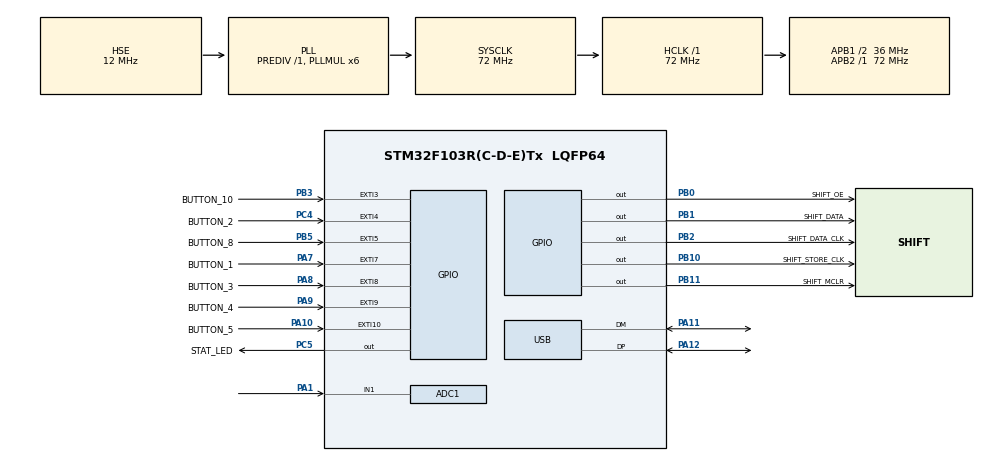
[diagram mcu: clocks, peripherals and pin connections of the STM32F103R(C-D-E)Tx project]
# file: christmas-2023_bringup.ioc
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ADC1.Channel-0\#ChannelRegularConversion=ADC_CHANNEL_1
ADC1.NbrOfConversionFlag=1
ADC1.Rank-0\#ChannelRegularConversion=1
ADC1.SamplingTime-0\#ChannelRegularConversion=ADC_SAMPLETIME_1CYCLE_5
ADC1.master=1
Mcu.Family=STM32F1
Mcu.Name=STM32F103R(C-D-E)Tx
Mcu.Package=LQFP64
NVIC.EXTI15_10_IRQn=true\:0\:0\:false\:false\:true\:true\:true\:true
NVIC.EXTI3_IRQn=true\:0\:0\:false\:false\:true\:true\:true\:true
NVIC.EXTI4_IRQn=true\:0\:0\:false\:false\:true\:true\:true\:true
NVIC.EXTI9_5_IRQn=true\:0\:0\:false\:false\:true\:true\:true\:true
NVIC.PriorityGroup=NVIC_PRIORITYGROUP_4
PA1.Signal=ADCx_IN1
PA10.GPIO_Label=BUTTON_5
PA10.GPIO_ModeDefaultEXTI=GPIO_MODE_IT_FALLING
PA10.GPIO_PuPd=GPIO_PULLUP
PA10.Signal=GPXTI10
PA11.Mode=Device
PA11.Signal=USB_DM
PA12.Mode=Device
PA12.Signal=USB_DP
PA13.Mode=Serial_Wire
PA13.Signal=SYS_JTMS-SWDIO
PA14.Mode=Serial_Wire
PA14.Signal=SYS_JTCK-SWCLK
PA7.GPIO_Label=BUTTON_1
PA7.GPIO_ModeDefaultEXTI=GPIO_MODE_IT_FALLING
PA7.GPIO_PuPd=GPIO_PULLUP
PA7.Signal=GPXTI7
PA8.GPIO_Label=BUTTON_3
PA8.GPIO_ModeDefaultEXTI=GPIO_MODE_IT_FALLING
PA8.GPIO_PuPd=GPIO_PULLUP
PA8.Signal=GPXTI8
PA9.GPIO_Label=BUTTON_4
PA9.GPIO_ModeDefaultEXTI=GPIO_MODE_IT_FALLING
PA9.GPIO_PuPd=GPIO_PULLUP
PA9.Signal=GPXTI9
PB0.GPIO_Label=SHIFT_OE
PB0.Signal=GPIO_Output
PB1.GPIO_Label=SHIFT_DATA
PB1.Signal=GPIO_Output
PB10.GPIO_Label=SHIFT_STORE_CLK
PB10.Signal=GPIO_Output
PB11.GPIO_Label=SHIFT_MCLR
PB11.Signal=GPIO_Output
PB2.GPIO_Label=SHIFT_DATA_CLK
PB2.Signal=GPIO_Output
PB3.GPIO_Label=BUTTON_10
PB3.GPIO_ModeDefaultEXTI=GPIO_MODE_IT_FALLING
PB3.GPIO_PuPd=GPIO_PULLUP
PB3.Signal=GPXTI3
PB5.GPIO_Label=BUTTON_8
PB5.GPIO_ModeDefaultEXTI=GPIO_MODE_IT_FALLING
PB5.GPIO_PuPd=GPIO_PULLUP
PB5.Signal=GPXTI5
PC4.GPIO_Label=BUTTON_2
PC4.GPIO_ModeDefaultEXTI=GPIO_MODE_IT_FALLING
PC4.GPIO_PuPd=GPIO_PULLUP
PC4.Signal=GPXTI4
PC5.GPIO_Label=STAT_LED
PC5.Signal=GPIO_Output
PD0-OSC_IN.Mode=HSE-External-Oscillator
PD0-OSC_IN.Signal=RCC_OSC_IN
PD1-OSC_OUT.Mode=HSE-External-Oscillator
PD1-OSC_OUT.Signal=RCC_OSC_OUT
ProjectManager.HeapSize=0x200
ProjectManager.StackSize=0x400
ProjectManager.TargetToolchain=STM32CubeIDE
RCC.ADCPresc=RCC_ADCPCLK2_DIV6
RCC.AHBFreq_Value=72000000
RCC.APB1CLKDivider=RCC_HCLK_DIV2
RCC.APB1Freq_Value=36000000
RCC.APB1TimFreq_Value=72000000
RCC.APB2Freq_Value=72000000
RCC.APB2TimFreq_Value=72000000
RCC.HCLKFreq_Value=72000000
RCC.HSE_VALUE=12000000
RCC.PLLMUL=RCC_PLL_MUL6
RCC.PLLSourceVirtual=RCC_PLLSOURCE_HSE
RCC.SYSCLKFreq_VALUE=72000000
RCC.SYSCLKSource=RCC_SYSCLKSOURCE_PLLCLK
RCC.USBFreq_Value=48000000
RCC.USBPrescaler=RCC_USBCLKSOURCE_PLL_DIV1_5
SH.ADCx_IN1.0=ADC1_IN1,IN1
board=custom

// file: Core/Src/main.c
/* USER CODE BEGIN Header */
/**
  ******************************************************************************
  * @file           : main.c
  * @brief          : Main program body

	Code Flag Structure:
	1 - Blink Debug LED
	2 - Test shift register functionality
	3 - Test ADC functionality
	4 - Light up debug LED on button input interrupts
  */
/* USER CODE END Header */
#include "main.h"

ADC_HandleTypeDef hadc1;

PCD_HandleTypeDef hpcd_USB_FS;

/* USER CODE BEGIN PV */

/*
 *******************************************************************************
 * Change flag to enter sequential stages of bringup *
 *******************************************************************************
 */

// Debug LED on PCB
const uint16_t debugLED = GPIO_PIN_5;		// Port C

/*
 * Shift register Pins
 */
uint16_t shiftData = GPIO_PIN_1;			// Port B
uint16_t shiftDataClock = GPIO_PIN_2; 		// Port B
uint16_t shiftStoreClock = GPIO_PIN_10;		// Port B
uint16_t shiftOutputEnable = GPIO_PIN_0;	// Port B
uint16_t shiftMCLR = GPIO_PIN_11;			// Port B

// ADC Pin
uint16_t ADC_IN = GPIO_PIN_1; 				// Port A

// Button Input Pins
uint16_t buttonIn_1 = GPIO_PIN_7;			// Port A
uint16_t buttonIn_2 = GPIO_PIN_4;			// Port C
uint16_t buttonIn_3 = GPIO_PIN_8;			// Port	A
uint16_t buttonIn_4 = GPIO_PIN_9;			// Port A
uint16_t buttonIn_5 = GPIO_PIN_10;			// Port A
uint16_t buttonIn_6 = GPIO_PIN_9;			// Port B
uint16_t buttonIn_7 = GPIO_PIN_8;			// Port B
uint16_t buttonIn_8 = GPIO_PIN_5;			// Port B
uint16_t buttonIn_9 = GPIO_PIN_4;			// Port B
uint16_t buttonIn_10 = GPIO_PIN_3;			// Port B

// For setting GPIO high or low in a more pretty fashion
GPIO_PinState GPIOPinSet[2] = {GPIO_PIN_RESET, GPIO_PIN_SET};

/* USER CODE END PV */

void SystemClock_Config(void);
static void MX_GPIO_Init(void);
static void MX_ADC1_Init(void);
static void MX_USB_PCD_Init(void);

int main(void)
{

  /* MCU Configuration--------------------------------------------------------*/

  /* Reset of all peripherals, Initializes the Flash interface and the Systick. */
  HAL_Init();

  /* Configure the system clock */
  SystemClock_Config();

  /* Initialize all configured peripherals */
  MX_GPIO_Init();
  MX_ADC1_Init();
  MX_USB_PCD_Init();
  /* USER CODE BEGIN 2 */

  const uint8_t bringupStage = 1;

  // Define return variable for ADC
  uint16_t ADC_Return = 0;
  // Calibrate ADC
  HAL_ADCEx_Calibration_Start(&hadc1);

  /* USER CODE END 2 */

  /* Infinite loop */
  /* USER CODE BEGIN WHILE */
  while (1)
  {
	  switch(bringupStage) {
		  case 1:		// Case 1 = simple debug LED blink

			  // Debug LED connected to pin C5
			  HAL_GPIO_TogglePin(GPIOC, debugLED);
			  HAL_Delay(500);

		    break;

		  case 2:		// Case 2 =  Test shift register functionality

			    // Clear any existing shift register data
				HAL_GPIO_WritePin(GPIOB, shiftMCLR, GPIOPinSet[0]);
				HAL_GPIO_WritePin(GPIOB, shiftMCLR, GPIOPinSet[1]);

				// Store cleared data and Enable output
				HAL_GPIO_WritePin(GPIOB, shiftStoreClock, GPIOPinSet[1]);
				HAL_GPIO_WritePin(GPIOB, shiftStoreClock, GPIOPinSet[0]);
				HAL_GPIO_WritePin(GPIOB, shiftOutputEnable, GPIOPinSet[0]);

				HAL_Delay(10);

				// Write data pin with 1 bit of data
				HAL_GPIO_WritePin(GPIOB, shiftData, GPIOPinSet[1]);

				// Shift high bit into pos 1
				HAL_GPIO_WritePin(GPIOB, shiftDataClock, GPIOPinSet[1]);
				HAL_GPIO_WritePin(GPIOB, shiftDataClock, GPIOPinSet[0]);

				// Display Output
				HAL_GPIO_WritePin(GPIOB, shiftStoreClock, GPIOPinSet[1]);
				HAL_GPIO_WritePin(GPIOB, shiftStoreClock, GPIOPinSet[0]);

				// Change Data pin back to low bit
				HAL_GPIO_WritePin(GPIOB, shiftData, GPIOPinSet[0]);

				for(int i = 0; i < 8; i++) {

					HAL_Delay(1000);
					// Shift low bit
					HAL_GPIO_WritePin(GPIOB, shiftDataClock, GPIOPinSet[1]);
					HAL_GPIO_WritePin(GPIOB, shiftDataClock, GPIOPinSet[0]);

					// Display Output
					HAL_GPIO_WritePin(GPIOB, shiftStoreClock, GPIOPinSet[1]);
					HAL_GPIO_WritePin(GPIOB, shiftStoreClock, GPIOPinSet[0]);
				}

		    break;

		  case 3:		// Case 3 - Test ADC functionality

			  // Start ADC Conversion
			  HAL_ADC_Start(&hadc1);

			 // Poll ADC1 Peripheral & TimeOut = 1mSec
			  HAL_ADC_PollForConversion(&hadc1, 1);

			  // Read The ADC Conversion Result & Map It To PWM DutyCycle
			  ADC_Return = HAL_ADC_GetValue(&hadc1);

			  // Resolution = 12 bit, 2^12 = 4096

			  // If ADC > 0.5 * VDD, turn on LED.
			  if(ADC_Return >= 4096/2 && ADC_Return <= 4096) {
				  HAL_GPIO_WritePin(GPIOC, debugLED, GPIOPinSet[1]);
			  }
			  // If ADC < 0.5 * VDD, turn off LED.
			  else if(ADC_Return <= 4096/2 && ADC_Return >= 0) {
				  HAL_GPIO_WritePin(GPIOC, debugLED, GPIOPinSet[0]);
			  }
			  // Else, something is wrong with my measurement - I should only get between 0 and 4096 return
			  else {
				  for(int i = 0; i < 20; i++) {
					  HAL_GPIO_TogglePin(GPIOC, debugLED);
					  HAL_Delay(100);
				  }
			  }

			  HAL_Delay(10);

		    break;

		  case 4: 		// Case 4 - Light up debug LED on button input interrupts. Do nothing.

		    break;

		  default:

		   break;
	  }

    /* USER CODE END WHILE */

  }
}

void SystemClock_Config(void)
{
  RCC_OscInitTypeDef RCC_OscInitStruct = {0};
  RCC_ClkInitTypeDef RCC_ClkInitStruct = {0};
  RCC_PeriphCLKInitTypeDef PeriphClkInit = {0};

  /** Initializes the RCC Oscillators according to the specified parameters
  * in the RCC_OscInitTypeDef structure.
  */
  RCC_OscInitStruct.OscillatorType = RCC_OSCILLATORTYPE_HSE;
  RCC_OscInitStruct.HSEState = RCC_HSE_ON;
  RCC_OscInitStruct.HSEPredivValue = RCC_HSE_PREDIV_DIV1;
  RCC_OscInitStruct.HSIState = RCC_HSI_ON;
  RCC_OscInitStruct.PLL.PLLState = RCC_PLL_ON;
  RCC_OscInitStruct.PLL.PLLSource = RCC_PLLSOURCE_HSE;
  RCC_OscInitStruct.PLL.PLLMUL = RCC_PLL_MUL6;
  if (HAL_RCC_OscConfig(&RCC_OscInitStruct) != HAL_OK)
  {
    Error_Handler();
  }

  /** Initializes the CPU, AHB and APB buses clocks
  */
  RCC_ClkInitStruct.ClockType = RCC_CLOCKTYPE_HCLK|RCC_CLOCKTYPE_SYSCLK
                              |RCC_CLOCKTYPE_PCLK1|RCC_CLOCKTYPE_PCLK2;
  RCC_ClkInitStruct.SYSCLKSource = RCC_SYSCLKSOURCE_PLLCLK;
  RCC_ClkInitStruct.AHBCLKDivider = RCC_SYSCLK_DIV1;
  RCC_ClkInitStruct.APB1CLKDivider = RCC_HCLK_DIV2;
  RCC_ClkInitStruct.APB2CLKDivider = RCC_HCLK_DIV1;

  if (HAL_RCC_ClockConfig(&RCC_ClkInitStruct, FLASH_LATENCY_2) != HAL_OK)
  {
    Error_Handler();
  }
  PeriphClkInit.PeriphClockSelection = RCC_PERIPHCLK_ADC|RCC_PERIPHCLK_USB;
  PeriphClkInit.AdcClockSelection = RCC_ADCPCLK2_DIV6;
  PeriphClkInit.UsbClockSelection = RCC_USBCLKSOURCE_PLL_DIV1_5;
  if (HAL_RCCEx_PeriphCLKConfig(&PeriphClkInit) != HAL_OK)
  {
    Error_Handler();
  }
}

static void MX_ADC1_Init(void)
{

  ADC_ChannelConfTypeDef sConfig = {0};

  /** Common config
  */
  hadc1.Instance = ADC1;
  hadc1.Init.ScanConvMode = ADC_SCAN_DISABLE;
  hadc1.Init.ContinuousConvMode = DISABLE;
  hadc1.Init.DiscontinuousConvMode = DISABLE;
  hadc1.Init.ExternalTrigConv = ADC_SOFTWARE_START;
  hadc1.Init.DataAlign = ADC_DATAALIGN_RIGHT;
  hadc1.Init.NbrOfConversion = 1;
  if (HAL_ADC_Init(&hadc1) != HAL_OK)
  {
    Error_Handler();
  }

  /** Configure Regular Channel
  */
  sConfig.Channel = ADC_CHANNEL_1;
  sConfig.Rank = ADC_REGULAR_RANK_1;
  sConfig.SamplingTime = ADC_SAMPLETIME_1CYCLE_5;
  if (HAL_ADC_ConfigChannel(&hadc1, &sConfig) != HAL_OK)
  {
    Error_Handler();
  }

}

static void MX_USB_PCD_Init(void)
{

  hpcd_USB_FS.Instance = USB;
  hpcd_USB_FS.Init.dev_endpoints = 8;
  hpcd_USB_FS.Init.speed = PCD_SPEED_FULL;
  hpcd_USB_FS.Init.low_power_enable = DISABLE;
  hpcd_USB_FS.Init.lpm_enable = DISABLE;
  hpcd_USB_FS.Init.battery_charging_enable = DISABLE;
  if (HAL_PCD_Init(&hpcd_USB_FS) != HAL_OK)
  {
    Error_Handler();
  }

}

static void MX_GPIO_Init(void)
{
  GPIO_InitTypeDef GPIO_InitStruct = {0};

  /* GPIO Ports Clock Enable */
  __HAL_RCC_GPIOD_CLK_ENABLE();
  __HAL_RCC_GPIOA_CLK_ENABLE();
  __HAL_RCC_GPIOC_CLK_ENABLE();
  __HAL_RCC_GPIOB_CLK_ENABLE();

  /*Configure GPIO pin Output Level */
  HAL_GPIO_WritePin(STAT_LED_GPIO_Port, STAT_LED_Pin, GPIO_PIN_RESET);

  /*Configure GPIO pin Output Level */
  HAL_GPIO_WritePin(GPIOB, SHIFT_OE_Pin|SHIFT_DATA_Pin|SHIFT_DATA_CLK_Pin|SHIFT_STORE_CLK_Pin
                          |SHIFT_MCLR_Pin, GPIO_PIN_RESET);

  /*Configure GPIO pins : BUTTON_1_Pin BUTTON_3_Pin BUTTON_4_Pin BUTTON_5_Pin */
  GPIO_InitStruct.Pin = BUTTON_1_Pin|BUTTON_3_Pin|BUTTON_4_Pin|BUTTON_5_Pin;
  GPIO_InitStruct.Mode = GPIO_MODE_IT_FALLING;
  GPIO_InitStruct.Pull = GPIO_PULLUP;
  HAL_GPIO_Init(GPIOA, &GPIO_InitStruct);

  /*Configure GPIO pin : BUTTON_2_Pin */
  GPIO_InitStruct.Pin = BUTTON_2_Pin;
  GPIO_InitStruct.Mode = GPIO_MODE_IT_FALLING;
  GPIO_InitStruct.Pull = GPIO_PULLUP;
  HAL_GPIO_Init(BUTTON_2_GPIO_Port, &GPIO_InitStruct);

  /*Configure GPIO pin : STAT_LED_Pin */
  GPIO_InitStruct.Pin = STAT_LED_Pin;
  GPIO_InitStruct.Mode = GPIO_MODE_OUTPUT_PP;
  GPIO_InitStruct.Pull = GPIO_NOPULL;
  GPIO_InitStruct.Speed = GPIO_SPEED_FREQ_LOW;
  HAL_GPIO_Init(STAT_LED_GPIO_Port, &GPIO_InitStruct);

  /*Configure GPIO pins : SHIFT_OE_Pin SHIFT_DATA_Pin SHIFT_DATA_CLK_Pin SHIFT_STORE_CLK_Pin
                           SHIFT_MCLR_Pin */
  GPIO_InitStruct.Pin = SHIFT_OE_Pin|SHIFT_DATA_Pin|SHIFT_DATA_CLK_Pin|SHIFT_STORE_CLK_Pin
                          |SHIFT_MCLR_Pin;
  GPIO_InitStruct.Mode = GPIO_MODE_OUTPUT_PP;
  GPIO_InitStruct.Pull = GPIO_NOPULL;
  GPIO_InitStruct.Speed = GPIO_SPEED_FREQ_LOW;
  HAL_GPIO_Init(GPIOB, &GPIO_InitStruct);

  /*Configure GPIO pins : BUTTON_10_Pin BUTTON_8_Pin */
  GPIO_InitStruct.Pin = BUTTON_10_Pin|BUTTON_8_Pin;
  GPIO_InitStruct.Mode = GPIO_MODE_IT_FALLING;
  GPIO_InitStruct.Pull = GPIO_PULLUP;
  HAL_GPIO_Init(GPIOB, &GPIO_InitStruct);

  /* EXTI interrupt init*/
  HAL_NVIC_SetPriority(EXTI3_IRQn, 0, 0);
  HAL_NVIC_EnableIRQ(EXTI3_IRQn);

  HAL_NVIC_SetPriority(EXTI4_IRQn, 0, 0);
  HAL_NVIC_EnableIRQ(EXTI4_IRQn);

  HAL_NVIC_SetPriority(EXTI9_5_IRQn, 0, 0);
  HAL_NVIC_EnableIRQ(EXTI9_5_IRQn);

  HAL_NVIC_SetPriority(EXTI15_10_IRQn, 0, 0);
  HAL_NVIC_EnableIRQ(EXTI15_10_IRQn);

}

/* USER CODE BEGIN 4 */

void HAL_GPIO_EXTI_Callback(uint16_t GPIO_Pin) {

	// All buttons trigger the same sequence for now, but this may change later.
	// GPIO interrupts are enabled in NVIC.

	if(GPIO_Pin == buttonIn_1) {
//		HAL_GPIO_WritePin(GPIOC, debugLED, GPIOPinSet[1]);
//		HAL_Delay(750);
//		HAL_GPIO_WritePin(GPIOC, debugLED, GPIOPinSet[0]);
		HAL_GPIO_TogglePin(GPIOC, debugLED);
	}
	else if(GPIO_Pin == buttonIn_2) {
		HAL_GPIO_TogglePin(GPIOC, debugLED);
	}
	else if(GPIO_Pin == buttonIn_3) {
		HAL_GPIO_TogglePin(GPIOC, debugLED);
		}
	else if(GPIO_Pin == buttonIn_4) {
		HAL_GPIO_TogglePin(GPIOC, debugLED);
		}
	else if(GPIO_Pin == buttonIn_5) {
		HAL_GPIO_TogglePin(GPIOC, debugLED);
		}
	else if(GPIO_Pin == buttonIn_6) {
		HAL_GPIO_TogglePin(GPIOC, debugLED);
		}
	else if(GPIO_Pin == buttonIn_7) {
		HAL_GPIO_TogglePin(GPIOC, debugLED);
		}
	else if(GPIO_Pin == buttonIn_8) {
		HAL_GPIO_TogglePin(GPIOC, debugLED);
		}
	else if(GPIO_Pin == buttonIn_9) {
		HAL_GPIO_TogglePin(GPIOC, debugLED);
		}
	else if(GPIO_Pin == buttonIn_10) {
		HAL_GPIO_TogglePin(GPIOC, debugLED);
		}

}

/* USER CODE END 4 */

void Error_Handler(void)
{
  __disable_irq();
  while (1)
  {
  }
}
